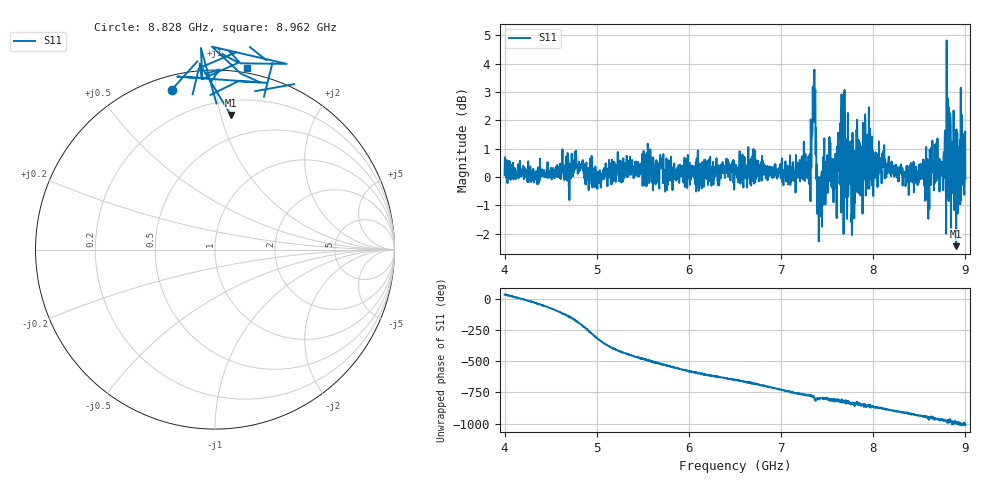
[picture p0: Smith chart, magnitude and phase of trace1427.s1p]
! Created with skrf 1.8.0 (http://scikit-rf.org).
# Hz S RI R 50.0
!freq ReS11 ImS11
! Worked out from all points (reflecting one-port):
!   1601 points, 4 GHz to 9 GHz, reference 50 ohm
!   lowest |S11| = -2.4 dB at 8.9 GHz (marker M1), VSWR 7.17, Z = 15.4 + j53.8 ohm
!   phase of S11 starts at 33 deg and turns -1042 deg over the sweep
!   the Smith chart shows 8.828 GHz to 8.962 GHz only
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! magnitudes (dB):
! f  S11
! 4 GHz  0.1
! 4.625 GHz  0.6
! 5.019 GHz  -0.1
! 5.25 GHz  0.6
! 5.875 GHz  0.0
! 6.5 GHz  0.2
! 7.125 GHz  0.5
! 7.294 GHz  0.5
! 7.356 GHz  3.0
! 7.409 GHz  -2.3
! 7.519 GHz  0.3
! 7.591 GHz  0.8
! 7.669 GHz  1.5
! 7.703 GHz  0.5
! 7.75 GHz  -0.1
! 7.784 GHz  0.2
! 7.834 GHz  0.4
! 7.962 GHz  1.7
! 7.981 GHz  -0.1
! 8.375 GHz  -0.2
! 8.603 GHz  -0.6
! 8.656 GHz  0.4
! 8.766 GHz  0.9
! 8.819 GHz  -0.8
! 8.841 GHz  1.8
! 8.9 GHz  -2.4
! 8.956 GHz  0.2
! 9 GHz  -0.1
